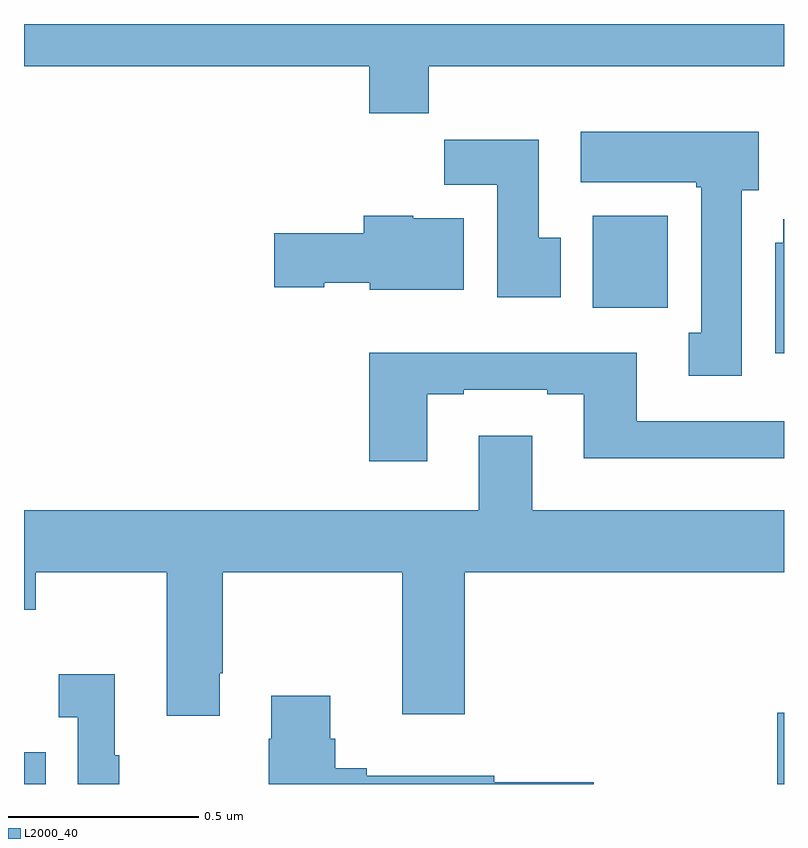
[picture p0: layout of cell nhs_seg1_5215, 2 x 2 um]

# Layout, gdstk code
import gdstk
lib = gdstk.Library(unit=1e-6, precision=1e-09)
def R(c, l, rs):  # rectangles x0, y0, x1, y1
    for r in rs: c.add(gdstk.rectangle(r[:2], r[2:], *l))
def P(c, l, *ps):  # polygons
    for p in ps: c.add(gdstk.Polygon(p, *l))
L2000_40 = (2000, 40)

nhs_seg1_5215 = lib.new_cell('nhs_seg1_5215')
R(nhs_seg1_5215, L2000_40, [(176,527.199,176.057,527.283), (177.982,527.199,178,527.387), (177.497,528.452,177.694,528.694)])
P(nhs_seg1_5215, L2000_40, [(177.065,529.088),(178,529.088),(178,529.199),(176,529.199),(176,529.088),(176.909,529.088),(176.909,528.964),(177.065,528.964)],
  [(177.889,528.762),(177.934,528.762),(177.934,528.916),(177.465,528.916),(177.465,528.782),(177.769,528.782),(177.769,528.769),(177.782,528.769),(177.782,528.386),(177.749,528.386),(177.749,528.273),(177.889,528.273)],
  [(177.412,528.636),(177.355,528.636),(177.355,528.895),(177.106,528.895),(177.106,528.776),(177.245,528.776),(177.245,528.48),(177.412,528.48)],
  [(177.157,528.688),(177.024,528.688),(177.024,528.694),(176.894,528.694),(176.894,528.648),(176.658,528.648),(176.658,528.506),(176.79,528.506),(176.79,528.518),(176.91,528.518),(176.91,528.5),(177.157,528.5)],
  [(178,528.685),(177.998,528.685),(177.998,528.624),(177.977,528.624),(177.977,528.332),(178,528.332)],
  [(177.061,528.225),(177.157,528.225),(177.157,528.237),(177.377,528.237),(177.377,528.225),(177.473,528.225),(177.473,528.056),(178,528.056),(178,528.153),(177.613,528.153),(177.613,528.334),(176.909,528.334),(176.909,528.048),(177.061,528.048)],
  [(176.515,527.491),(176.523,527.491),(176.523,527.756),(176.996,527.756),(176.996,527.382),(177.16,527.382),(177.16,527.756),(178,527.756),(178,527.92),(177.337,527.92),(177.337,528.115),(177.197,528.115),(177.197,527.92),(176,527.92),(176,527.657),(176.031,527.657),(176.031,527.756),(176.375,527.756),(176.375,527.379),(176.515,527.379)],
  [(176.251,527.275),(176.239,527.275),(176.239,527.488),(176.091,527.488),(176.091,527.375),(176.142,527.375),(176.142,527.199),(176.251,527.199)],
  [(177.499,527.204),(177.238,527.204),(177.238,527.221),(176.902,527.221),(176.902,527.24),(176.819,527.24),(176.819,527.318),(176.806,527.318),(176.806,527.431),(176.651,527.431),(176.651,527.318),(176.644,527.318),(176.644,527.199),(177.499,527.199)])

lib.write_gds('nhs_seg1_5215.gds')
